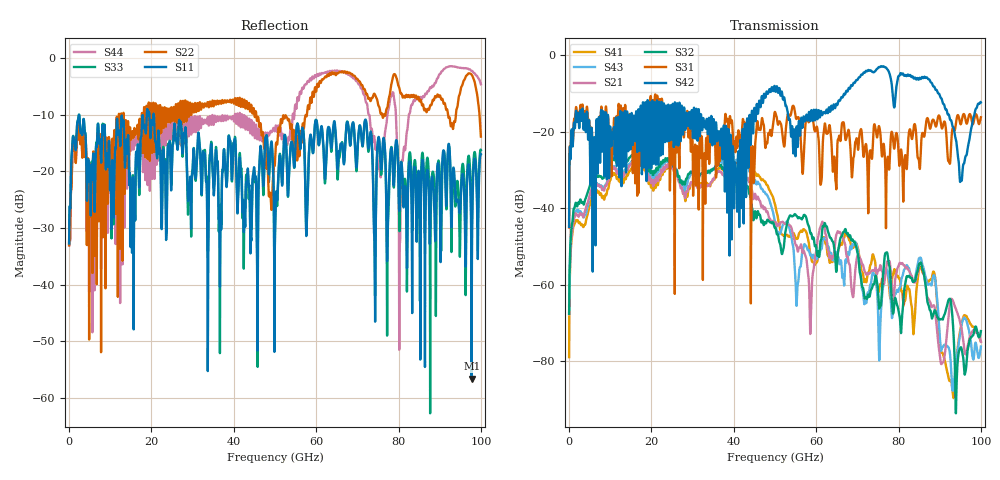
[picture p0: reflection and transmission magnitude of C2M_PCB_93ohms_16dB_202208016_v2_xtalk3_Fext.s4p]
! Info: Touchstone file created by Circ.  Input file=Intel_C2M_200G_5p0in_202208016_staggered.circ
# Hz S RI R 50
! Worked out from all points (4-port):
!   10000 points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, 10 MHz to 100 GHz, reference 50 ohm
!   strongest paths, dB at 10 MHz, 25.01 GHz, 50.01 GHz, 75.01 GHz, 100 GHz:
!     S42: -44.9, -16.0, -8.7, -3.4, -12.4
!     S31: -45.0, -27.9, -14.9, -19.8, -16.2
!     S32: -67.6, -27.7, -45.1, -61.5, -72.1
!     S21: -65.6, -29.4, -43.9, -56.1, -74.9
!     S43: -67.7, -27.9, -43.5, -66.4, -76.1
!     S41: -78.9, -29.3, -39.0, -61.1, -74.8
!   lowest |S11| = -56.6 dB at 97.76 GHz (marker M1), VSWR 1.00, Z = 50.1 - j0.0534 ohm
!   |S11| at or under -10 dB: start of sweep to 18.86 GHz; 19.51 GHz to 20.49 GHz (981.4 MHz wide, 4.91 % of centre); 20.59 GHz to end of sweep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
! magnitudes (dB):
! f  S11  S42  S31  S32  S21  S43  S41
! 10 MHz  -32.7  -44.9  -45.0  -67.6  -65.6  -67.7  -78.9
! 1.4 GHz  -14.9  -19.1  -16.7  -39.5  -41.8  -42.1  -43.8
! 17.03 GHz  -22.8  -19.2  -20.1  -24.8  -26.3  -26.0  -27.2
! 66.59 GHz  -17.8  -10.5  -17.6  -46.2  -47.9  -57.4  -48.1
! 80.4 GHz  -20.9  -4.9  -26.3  -69.6  -54.3  -60.7  -59.0
! 97.76 GHz  -56.6  -18.7  -17.0  -73.6  -72.4  -76.8  -70.7
! 100 GHz  -16.9  -12.4  -16.2  -72.1  -74.9  -76.1  -74.8
